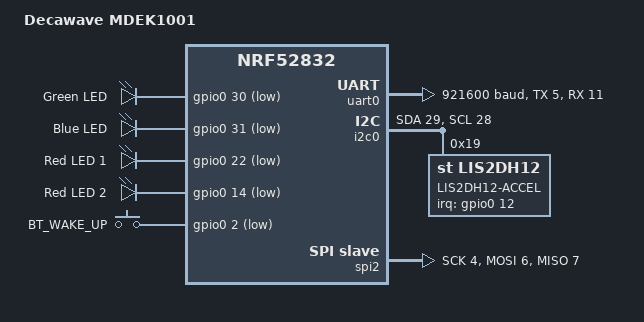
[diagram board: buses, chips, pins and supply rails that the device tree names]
/dts-v1/;
#include <nordic/nrf52832_qfaa.dtsi>

/ {
	model = "Decawave MDEK1001";
	/* compatible = "nordic,nrf52832-qfaa", "nordic,nrf52832"; */
	compatible = "decawave,dwm1001";

	chosen {
		zephyr,console = &uart0;
		zephyr,shell-uart = &uart0;
		zephyr,uart-mcumgr = &uart0;
		zephyr,bt-mon-uart = &uart0;
		zephyr,bt-c2h-uart = &uart0;
		zephyr,sram = &sram0;
		zephyr,flash = &flash0;
		zephyr,code-partition = &slot0_partition;
	};

	/* These aliases are provided for compatibility with samples */
	aliases {
		led0 = &led0;
		led1 = &led1;
		led2 = &led2;
		led3 = &led3;
		sw0 = &button0;
		net-spi = &spi2;
	};

	leds {
		compatible = "gpio-leds";
		led0: led_0 {
			gpios = <&gpio0 30 GPIO_ACTIVE_LOW>;
			label = "Green LED";
		};
		led1: led_1 {
			gpios = <&gpio0 31 GPIO_ACTIVE_LOW>;
			label = "Blue LED";
		};
		led2: led_2 {
			gpios = <&gpio0 22 GPIO_ACTIVE_LOW>;
			label = "Red LED 1";
		};
		led3: led_3 {
			gpios = <&gpio0 14 GPIO_ACTIVE_LOW>;
			label = "Red LED 2";
		};
	};

	buttons {
		compatible = "gpio-keys";
		button0: button_0 {
			gpios = <&gpio0 2 (GPIO_PULL_UP | GPIO_ACTIVE_LOW)>;
			label = "BT_WAKE_UP";
		};
	};
};

&gpiote {
	status = "okay";
};

&gpio0 {
	status = "okay";
};

&uart0 {
	compatible = "nordic,nrf-uart";
	status = "okay";
	current-speed = <921600>;
	// current-speed = <115200>;
	tx-pin = <5>;
	rx-pin = <11>;
};

&i2c0 {
	compatible = "nordic,nrf-twim";
	status  = "okay";
	sda-pin = <29>;
	scl-pin = <28>;

	lis2dh12: lis2dh12@19 {
		compatible = "st,lis2dh12", "st,lis2dh";
		reg = <0x19>;
		irq-gpios = <&gpio0 12 GPIO_ACTIVE_HIGH>;
		label = "LIS2DH12-ACCEL";
	};
};

&i2c1 {
	compatible = "nordic,nrf-twim";
	status  = "disabled";
	sda-pin = <15>;
	scl-pin = <8>;
};

// &spi1 {
// 	compatible = "nordic,nrf-spi";
// 	status   = "disabled";
// 	sck-pin  = <16>;
// 	mosi-pin = <20>;
// 	miso-pin = <18>;
// 	/* spi-max-frequency = <8000000>; */
// 	cs-gpios = <&gpio0 17 GPIO_ACTIVE_LOW>;
// 
// 	dw1000@0 {
// 		compatible = "decawave,dw1000";
// 		spi-max-frequency = <8000000>;
// 		int-gpios = <&gpio0 19 GPIO_ACTIVE_HIGH>;
// 		label = "DW1000";
// 		reg = <0>;
// 	};
// };

&spi2 {
	compatible = "nordic,nrf-spis";
	status   = "okay";
	sck-pin  = <4>;
	mosi-pin = <6>;
	miso-pin = <7>;
	csn-pin  = <3>;
	def-char = <0x0>;
	/* spi-max-frequency = <8000000>; */
	/* cs-gpios = <&gpio0 3 0>; */
};

&flash0 {
	/*
	 * For more information, see:
	 * http://docs.zephyrproject.org/latest/guides/dts/index.html#flash-partitions
	 */
	partitions {
		compatible = "fixed-partitions";
		#address-cells = <1>;
		#size-cells = <1>;

		boot_partition: partition@0 {
			label = "mcuboot";
			reg = <0x00000000 0xc000>;
		};
		slot0_partition: partition@c000 {
			label = "image-0";
			reg = <0x0000C000 0x32000>;
		};
		slot1_partition: partition@3e000 {
			label = "image-1";
			reg = <0x0003E000 0x32000>;
		};
		scratch_partition: partition@70000 {
			label = "image-scratch";
			reg = <0x00070000 0xa000>;
		};
		storage_partition: partition@7a000 {
			label = "storage";
			reg = <0x0007a000 0x00006000>;
		};
	};
};
